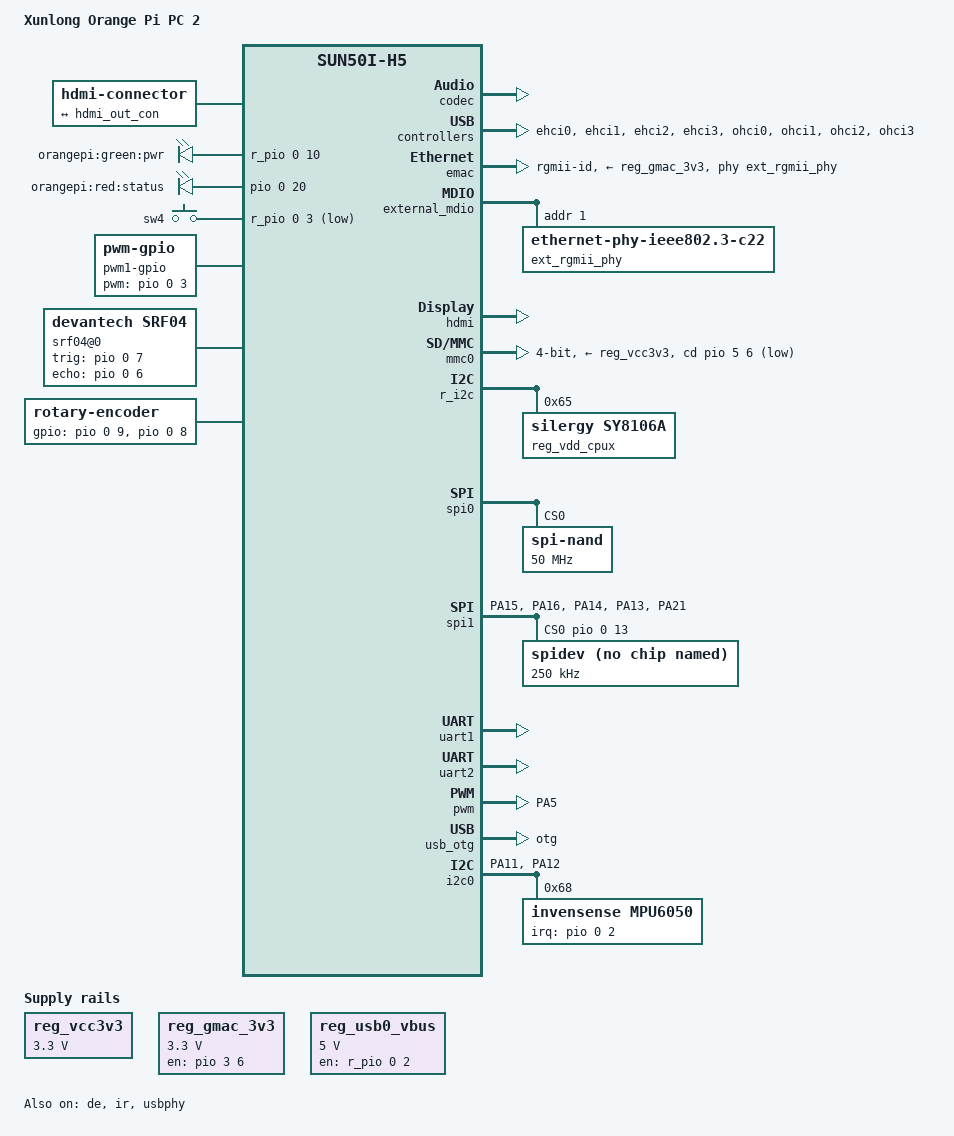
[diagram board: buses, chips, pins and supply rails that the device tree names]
// SPDX-License-Identifier: (GPL-2.0+ OR MIT)
// Copyright (C) 2016 ARM Ltd.

/dts-v1/;
#include "sun50i-h5.dtsi"

#include <dt-bindings/gpio/gpio.h>
#include <dt-bindings/input/input.h>
#include <dt-bindings/pinctrl/sun4i-a10.h>
#include <dt-bindings/pwm/pwm.h>

/ {
	model = "Xunlong Orange Pi PC 2";
	compatible = "xunlong,orangepi-pc2", "allwinner,sun50i-h5";

	reg_vcc3v3: vcc3v3 {
		compatible = "regulator-fixed";
		regulator-name = "vcc3v3";
		regulator-min-microvolt = <3300000>;
		regulator-max-microvolt = <3300000>;
	};

	aliases {
		ethernet0 = &emac;
		serial0 = &uart1;
		serial1 = &uart2;
		// serial2 = &uart2;
		spi0 = &spi0;
	};

	chosen {
		stdout-path = "serial0:115200n8";
	};

	connector {
		compatible = "hdmi-connector";
		type = "a";

		port {
			hdmi_con_in: endpoint {
				remote-endpoint = <&hdmi_out_con>;
			};
		};
	};

	leds {
		compatible = "gpio-leds";

		pwr {
			label = "orangepi:green:pwr";
			gpios = <&r_pio 0 10 GPIO_ACTIVE_HIGH>;
			default-state = "on";
			linux,default-trigger = "heartbeat";
		};

		status {
			label = "orangepi:red:status";
			gpios = <&pio 0 20 GPIO_ACTIVE_HIGH>;
			linux,default-trigger = "timer";
		};
	};

	r-gpio-keys {
		compatible = "gpio-keys";

		sw4 {
			label = "sw4";
			linux,code = <KEY_POWER>;
			gpios = <&r_pio 0 3 GPIO_ACTIVE_LOW>;
			wakeup-source;
		};
	};

	pwm1-gpio {
		compatible = "pwm-gpio";
		#pwm-cells = <3>;

		pwm-gpio = <&pio 0 3 GPIO_ACTIVE_HIGH>; // PA3
	};

	srf04@0 {
		compatible = "devantech,srf04";
		trig-gpios = <&pio 0 7 GPIO_ACTIVE_HIGH>; // PA7
		echo-gpios = <&pio 0 6 GPIO_ACTIVE_HIGH>; // PA6
	};

	rotary: rotary-encoder {
		compatible = "rotary-encoder";
		gpios = < &pio 0 9 GPIO_ACTIVE_HIGH >, <&pio 0 8 GPIO_ACTIVE_HIGH >; // PA8 PA9
		linux,axis = <0>; /* REL_X */
		rotary-encoder,encoding = "gray";
		rotary-encoder,relative-axis;

		// linux,axis = <1>; /* ABS_Y */
		// rotary-encoder,steps = <34>;
		// rotary-encoder,encoding = "binary";
		// rotary-encoder,rollover;
		status = "okay";
	};

	reg_gmac_3v3: gmac-3v3 {
		compatible = "regulator-fixed";
		regulator-name = "gmac-3v3";
		regulator-min-microvolt = <3300000>;
		regulator-max-microvolt = <3300000>;
		startup-delay-us = <100000>;
		enable-active-high;
		gpio = <&pio 3 6 GPIO_ACTIVE_HIGH>;
	};

	reg_usb0_vbus: usb0-vbus {
		compatible = "regulator-fixed";
		regulator-name = "usb0-vbus";
		regulator-min-microvolt = <5000000>;
		regulator-max-microvolt = <5000000>;
		enable-active-high;
		gpio = <&r_pio 0 2 GPIO_ACTIVE_HIGH>; /* PL2 */
		status = "okay";
	};
};

&codec {
	allwinner,audio-routing =
		"Line Out", "LINEOUT",
		"MIC1", "Mic",
		"Mic",  "MBIAS";
	status = "okay";
};

&cpu0 {
	cpu-supply = <&reg_vdd_cpux>;
};

&de {
	status = "okay";
};

&ehci0 {
	status = "okay";
};

&ehci1 {
	status = "okay";
};

&ehci2 {
	status = "okay";
};

&ehci3 {
	status = "okay";
};

&emac {
	pinctrl-names = "default";
	pinctrl-0 = <&emac_rgmii_pins>;
	phy-supply = <&reg_gmac_3v3>;
	phy-handle = <&ext_rgmii_phy>;
	phy-mode = "rgmii-id";
	status = "okay";
};

&external_mdio {
	ext_rgmii_phy: ethernet-phy@1 {
		compatible = "ethernet-phy-ieee802.3-c22";
		reg = <1>;
	};
};

&hdmi {
	status = "okay";
};

&hdmi_out {
	hdmi_out_con: endpoint {
		remote-endpoint = <&hdmi_con_in>;
	};
};

&ir {
	pinctrl-names = "default";
	pinctrl-0 = <&r_ir_rx_pin>;
	status = "okay";
};

&mmc0 {
	vmmc-supply = <&reg_vcc3v3>;
	bus-width = <4>;
	cd-gpios = <&pio 5 6 GPIO_ACTIVE_LOW>; /* PF6 */
	status = "okay";
};

&ohci0 {
	status = "okay";
};

&ohci1 {
	status = "okay";
};

&ohci2 {
	status = "okay";
};

&ohci3 {
	status = "okay";
};

&r_i2c {
	status = "okay";

	reg_vdd_cpux: regulator@65 {
		compatible = "silergy,sy8106a";
		reg = <0x65>;
		regulator-name = "vdd-cpux";
		silergy,fixed-microvolt = <1100000>;
		regulator-min-microvolt = <1000000>;
		regulator-max-microvolt = <1400000>;
		regulator-ramp-delay = <200>;
		regulator-boot-on;
		regulator-always-on;
	};
};

&spi0  {
	status = "okay";

	spi-nor@0 {
		#address-cells = <1>;
		#size-cells = <1>;
		compatible = "jedec,spi-nor";
		reg = <0>;
		spi-max-frequency = <40000000>;
		status = "disabled";
	};

	spi-nand@0 {
		#address-cells = <1>;
		#size-cells = <1>;
		compatible = "spi-nand";
		reg = <0>;
		spi-max-frequency = <50000000>;
		status = "okay";
	};
};

&pio {
	spi1_pins_cs1: spi1_pins_cs1 {
		pins = "PA13", "PA21";
		function = "gpio_out";
	};

	spi1_pins: spi1-pins {
		pins = "PA15", "PA16", "PA14", "PA13";
		function = "spi1";
	};

	i2c0_pa_pins: i2c0_pins {
		pins = "PA11", "PA12";
		function = "i2c0";
	};

	pwm0_pin: pwm0@0 {
		pins = "PA5";
		function = "pwm0";
	};
};

&spi1 {
	#address-cells = <1>;
	#size-cells = <0>;
	pinctrl-names = "default";
	spi-num-chipselects = <2>;
	pinctrl-0 = <&spi1_pins &spi1_pins_cs1>;
	cs-gpios = <&pio 0 13 GPIO_ACTIVE_HIGH>, <&pio 0 21 GPIO_ACTIVE_HIGH>;
	status = "okay";

	psxpad@0 {
		reg = <0>;
		compatible = "sony,psxpad-spi";
		spi-max-frequency = <500000>; // 250KHz/500KHz
		spi-cpha;
		spi-cpol;
		status = "disabled";
	};

	spidev@0 {
		reg = <0>;
		compatible = "rohm,dh2228fv";
		spi-max-frequency = <250000>;
		spi-cpha;
		spi-cpol;
		status = "okay";
	};

/*
	can0: can@0 {
		reg = <0>;
		compatible = "microchip,mcp2518fd";
		spi-max-frequency = <20000000>;
		pinctrl-names = "default";
		pinctrl-0 = <&can0_pin_irq>;
		interrupt-parent = <&pio>;
		interrupts = <0 2 IRQ_TYPE_LEVEL_LOW>; // PA2 / IRQ_TYPE_LEVEL_LOW
		clocks = <&osc40M>;
		vdd-supply = <&reg_vcc3v3>;
		xceiver-supply = <&reg_vcc3v3>;
	};

	can1: can@1 {
		reg = <1>;
		compatible = "microchip,mcp2515";
		spi-max-frequency = <2000000>;
		pinctrl-names = "default";
		pinctrl-0 = <&can1_pin_irq>;
		interrupt-parent = <&pio>;
		interrupts = <0 9 IRQ_TYPE_LEVEL_LOW>; / PA9 / IRQ_TYPE_LEVEL_LOW
		clocks = <&osc8M>;
		vdd-supply = <&reg_vcc3v3>;
		xceiver-supply = <&reg_vcc3v3>;
	};
*/

};

&uart0 {
	pinctrl-names = "default";
	pinctrl-0 = <&uart0_pa_pins>;
	status = "disabled";
};

&uart1 {
	pinctrl-names = "default";
	pinctrl-0 = <&uart1_pins>;
	status = "okay";
};

&uart2 {
	pinctrl-names = "default";
	pinctrl-0 = <&uart2_pins>;
	status = "okay";
};

&pwm {
	pinctrl-names = "default";
	pinctrl-0 = <&pwm0_pin>;
	status = "okay";
};

&usb_otg {
	dr_mode = "otg";
	status = "okay";
};

&usbphy {
	/* USB Type-A ports' VBUS is always on */
	usb0_id_det-gpios = <&pio 6 12 GPIO_ACTIVE_HIGH>; /* PG12 */
	usb0_vbus-supply = <&reg_usb0_vbus>;
	status = "okay";
};

&i2c0 {
	pinctrl-names = "default";
	pinctrl-0 = <&i2c0_pa_pins>;
	status = "okay";

	mpu6050@68 {
		compatible = "invensense,mpu6050";
		reg = <0x68>;
		status = "okay";
		interrupt-parent = <&pio>;
		interrupts = <0 2 IRQ_TYPE_EDGE_RISING>; // PA2
		mount-matrix = "-0.984807753012208",  /* x0 */
		               "0",                   /* y0 */
		               "-0.173648177666930",  /* z0 */
		               "0",                   /* x1 */
		               "-1",                  /* y1 */
		               "0",                   /* z1 */
		               "-0.173648177666930",  /* x2 */
		               "0",                   /* y2 */
		               "0.984807753012208";   /* z2 */
	};
};
